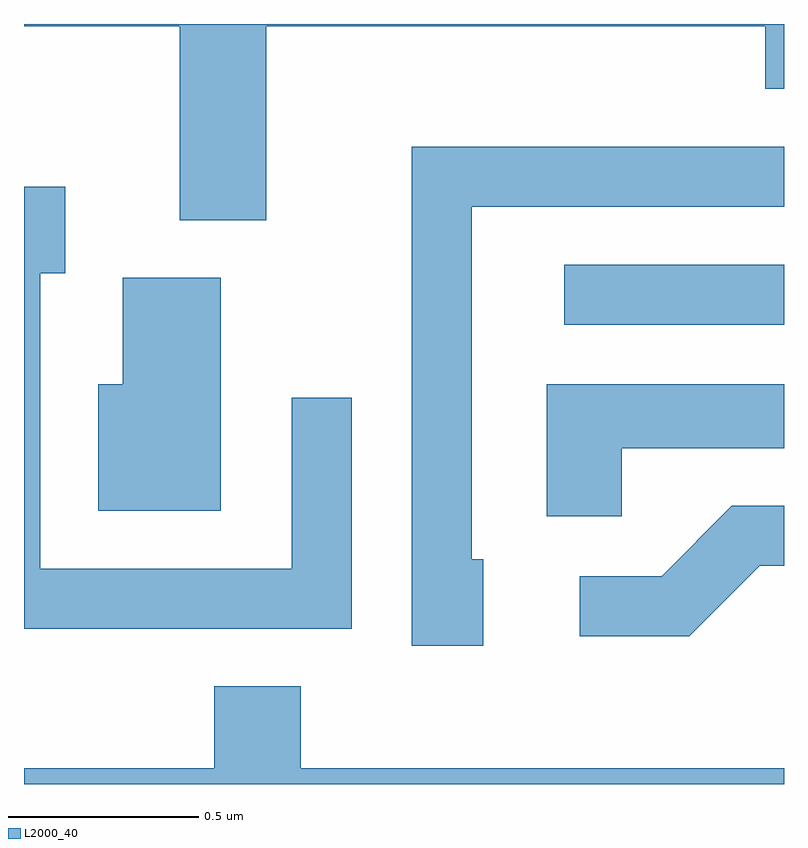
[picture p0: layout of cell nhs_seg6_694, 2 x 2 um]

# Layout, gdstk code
import gdstk
lib = gdstk.Library(unit=1e-6, precision=1e-09)
def R(c, l, rs):  # rectangles x0, y0, x1, y1
    for r in rs: c.add(gdstk.rectangle(r[:2], r[2:], *l))
def P(c, l, *ps):  # polygons
    for p in ps: c.add(gdstk.Polygon(p, *l))
L2000_40 = (2000, 40)

nhs_seg6_694 = lib.new_cell('nhs_seg6_694')
R(nhs_seg6_694, L2000_40, [(192.033,1540.371,192.611,1540.529)])
P(nhs_seg6_694, L2000_40, [(191.249,1541.156),(192.561,1541.156),(192.561,1540.991),(192.611,1540.991),(192.611,1541.162),(190.611,1541.162),(190.611,1541.156),(191.021,1541.156),(191.021,1540.646),(191.249,1540.646)],
  [(191.819,1539.754),(191.789,1539.754),(191.789,1540.681),(192.611,1540.681),(192.611,1540.839),(191.631,1540.839),(191.631,1539.526),(191.819,1539.526)],
  [(191.474,1540.178),(191.316,1540.178),(191.316,1539.729),(190.654,1539.729),(190.654,1540.506),(190.719,1540.506),(190.719,1540.734),(190.611,1540.734),(190.611,1539.571),(191.474,1539.571)],
  [(191.129,1540.494),(190.871,1540.494),(190.871,1540.214),(190.806,1540.214),(190.806,1539.881),(191.129,1539.881)],
  [(192.184,1540.046),(192.611,1540.046),(192.611,1540.214),(191.986,1540.214),(191.986,1539.866),(192.184,1539.866)],
  [(192.547,1539.736),(192.611,1539.736),(192.611,1539.894),(192.474,1539.894),(192.289,1539.709),(192.073,1539.709),(192.073,1539.551),(192.362,1539.551)],
  [(192.611,1539.204),(191.339,1539.204),(191.339,1539.419),(191.111,1539.419),(191.111,1539.204),(190.611,1539.204),(190.611,1539.162),(192.611,1539.162)])

lib.write_gds('nhs_seg6_694.gds')
